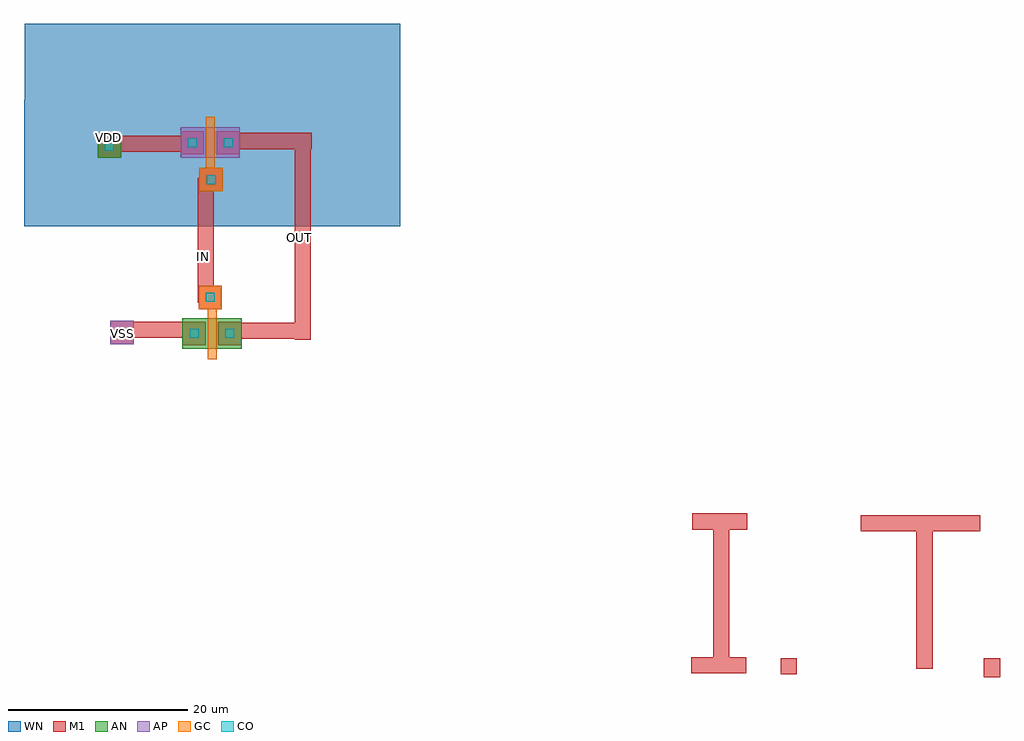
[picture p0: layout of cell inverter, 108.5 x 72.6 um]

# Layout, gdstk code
from math import pi, radians
import gdstk
lib = gdstk.Library(unit=1e-6, precision=1e-07)
def R(c, l, rs):  # rectangles x0, y0, x1, y1
    for r in rs: c.add(gdstk.rectangle(r[:2], r[2:], *l))
AP = (3, 1)
AN = (3, 2)
GC = (8, 1)
CO = (11, 0)
M1 = (13, 0)
WN = (140, 0)

fet_n = lib.new_cell('fet_n')
R(fet_n, AN, [(-3.3,-1.7,3.3,1.7)])
R(fet_n, CO, [(-2.5,-0.5,-1.5,0.5), (1.5,-0.5,2.5,0.5)])
R(fet_n, M1, [(-3.3,-1.3,-0.7,1.3), (0.7,-1.3,3.3,1.3)])
fet_n.add(gdstk.FlexPath([(0,-2.9),(0,2.9)], 1, ends="flush", simple_path=True, layer=8, datatype=1))  # GC

fet_p = lib.new_cell('fet_p')
R(fet_p, AP, [(-3.3,-1.7,3.3,1.7)])
R(fet_p, CO, [(-2.5,-0.5,-1.5,0.5), (1.5,-0.5,2.5,0.5)])
R(fet_p, M1, [(-3.3,-1.3,-0.7,1.3), (0.7,-1.3,3.3,1.3)])
fet_p.add(gdstk.FlexPath([(0,-2.9),(0,2.9)], 1, ends="flush", simple_path=True, layer=8, datatype=1))  # GC

cont_g = lib.new_cell('cont_g')
R(cont_g, GC, [(-1.3,-1.3,1.3,1.3)])
R(cont_g, CO, [(-0.5,-0.5,0.5,0.5)])
R(cont_g, M1, [(-1.3,-1.3,1.3,1.3)])

cont_n = lib.new_cell('cont_n')
R(cont_n, AN, [(-1.3,-1.3,1.3,1.3)])
R(cont_n, CO, [(-0.5,-0.5,0.5,0.5)])
R(cont_n, M1, [(-1.3,-1.3,1.3,1.3)])

cont_p = lib.new_cell('cont_p')
R(cont_p, AP, [(-1.3,-1.3,1.3,1.3)])
R(cont_p, CO, [(-0.5,-0.5,0.5,0.5)])
R(cont_p, M1, [(-1.3,-1.3,1.3,1.3)])

inverter = lib.new_cell('inverter')
R(inverter, WN, [(-18,-61.1,23.8,-47), (-17.9,-47.4,23.8,-38.6)])
inverter.add(gdstk.FlexPath([(13,-51.5),(13,-73.7)], 1.8, ends="flush", simple_path=True, layer=13, datatype=0))  # M1
inverter.add(gdstk.FlexPath([(-8.9,-51.9),(1.3,-51.9)], 1.8, ends="flush", simple_path=True, layer=13, datatype=0))  # M1
inverter.add(gdstk.FlexPath([(2.2,-55.7),(2.2,-69.6)], 1.8, ends="flush", simple_path=True, layer=13, datatype=0))  # M1
inverter.add(gdstk.FlexPath([(-7.5,-72.6),(1.4,-72.6)], 1.8, ends="flush", simple_path=True, layer=13, datatype=0))  # M1
inverter.add(gdstk.FlexPath([(13.2,-51.6),(13.2,-51.6)], 1.8, ends="flush", simple_path=True, layer=13, datatype=0))  # M1
inverter.add(gdstk.FlexPath([(4.5,-72.7),(13.7,-72.7)], 1.8, ends="flush", simple_path=True, layer=13, datatype=0))  # M1
inverter.add(gdstk.FlexPath([(4.6,-51.6),(14,-51.6)], 1.8, ends="flush", simple_path=True, layer=13, datatype=0))  # M1
inverter.add(gdstk.FlexPath([(56.3,-93.9),(62.4,-93.9),(62.4,-93.9)], 1.8, ends="flush", simple_path=True, layer=13, datatype=0))  # M1
inverter.add(gdstk.FlexPath([(59.5,-93.9),(59.5,-109.8)], 1.8, ends="flush", simple_path=True, layer=13, datatype=0))  # M1
inverter.add(gdstk.FlexPath([(56.2,-109.9),(62.3,-109.9)], 1.8, ends="flush", simple_path=True, layer=13, datatype=0))  # M1
inverter.add(gdstk.FlexPath([(66.1,-110),(67.9,-110)], 1.8, ends="flush", simple_path=True, layer=13, datatype=0))  # M1
inverter.add(gdstk.FlexPath([(75,-94.1),(88.3,-94.1)], 1.8, ends="flush", simple_path=True, layer=13, datatype=0))  # M1
inverter.add(gdstk.FlexPath([(82.1,-94.2),(82.1,-110.3)], 1.8, ends="flush", simple_path=True, layer=13, datatype=0))  # M1
inverter.add(gdstk.FlexPath([(89.6,-109.1),(89.6,-111.2)], 1.8, ends="flush", simple_path=True, layer=13, datatype=0))  # M1
inverter.add(gdstk.Reference(fet_n, (2.9,-73), rotation=pi))
inverter.add(gdstk.Reference(fet_p, (2.7,-51.8), rotation=pi))
inverter.add(gdstk.Reference(cont_g, (2.8,-55.9), rotation=pi/2))
inverter.add(gdstk.Reference(cont_n, (-8.5,-52.2), rotation=pi/2))
inverter.add(gdstk.Reference(cont_g, (2.7,-69), rotation=pi/2))
inverter.add(gdstk.Reference(cont_p, (-7.1,-72.9), rotation=pi/2))
inverter.add(gdstk.Label('VSS', (-7,-73), layer=48, texttype=0))
inverter.add(gdstk.Label('VDD', (-8.6,-51.2), layer=48, texttype=0))
inverter.add(gdstk.Label('OUT', (12.6,-62.3), layer=48, texttype=0))
inverter.add(gdstk.Label('IN', (1.9,-64.4), layer=48, texttype=0))

lib.write_gds('inverter.gds')
